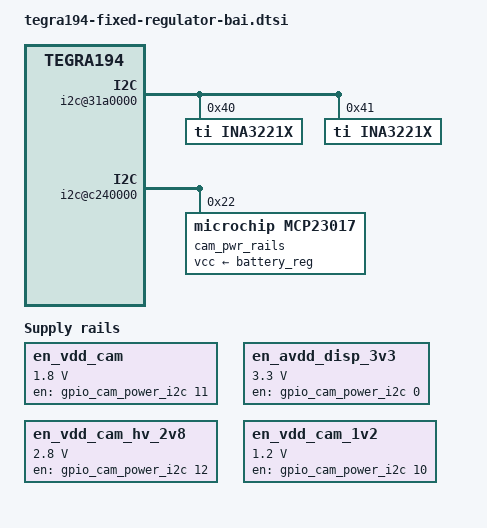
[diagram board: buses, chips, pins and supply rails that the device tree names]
/ {
	i2c@31a0000 {
		ina3221x@40 { // NAMES FOR THE NEW INA'S
			compatible = "ti,ina3221x";
			reg = <0x40>;
			ti,trigger-config = <0x7003>;
			ti,continuous-config = <0x7c07>;
			ti,enable-forced-continuous;
			#address-cells = <1>;
			#size-cells = <0>;
			channel@0 {
				reg = <0x0>;
				ti,rail-name = "VDD_12V_SENSE";
				ti,shunt-resistor-mohm = <47>;
			};
			channel@1 {
				reg = <0x1>;
				ti,rail-name = "VDD_3V3_SENSE";
				ti,shunt-resistor-mohm = <150>;
			};
			channel@2 {
				reg = <0x2>;
				ti,rail-name = "VDD_5V_SENSE";
				ti,shunt-resistor-mohm = <47>;
			};
		};

		ina3221x@41 {
			compatible = "ti,ina3221x";
			reg = <0x41>;
			ti,trigger-config = <0x7003>;
			ti,continuous-config = <0x7c07>;
			ti,enable-forced-continuous;
			#address-cells = <1>;
			#size-cells = <0>;
			channel@0 {
				reg = <0x0>;
				ti,rail-name = "VDD_1V2_SENSE";
				ti,shunt-resistor-mohm = <47>;
			};
			channel@1 {
				reg = <0x1>;
				ti,rail-name = "VDD_4V_SENSE";
				ti,shunt-resistor-mohm = <150>;
			};
			channel@2 {
				reg = <0x2>;
				ti,rail-name = "VDD_1V8_SENSE";
				ti,shunt-resistor-mohm = <47>;
			};
		};
	};
	
	/* Added I2C controller which will control the power */

	i2c@c240000 {
		gpio_cam_power_i2c: gpio@22 {
			compatible = "microchip,mcp23017";
			reg = <0x22>;
			gpio-controller;
			#gpio-cells = <0x2>;
			vcc-supply = <&battery_reg>;
			status = "okay";
			output-high;
			label = "cam_pwr_rails";
			
			pinctrl-names = "default";
			pinctrl-0 = <&gpio22pullups>;

			gpio22pullups: pinmux {
				pins = "gpio0", "gpio1", "gpio2", "gpio3", "gpio4", "gpio5",  "gpio6",  "gpio7",
				       "gpio8", "gpio9", "gpio10", "gpio11", "gpio12", "gpio13",  "gpio14",  "gpio15";
				bias-pull-up; 
			};
		};
	};

    fixed-regulators {
		/* Added I2C Regulators here */
		en_vdd_cam: regulator@2 {
			compatible = "regulator-fixed";
			reg = <2>;
			regulator-name = "en-vdd-cam";
			regulator-min-microvolt = <1800000>;
			regulator-max-microvolt = <1800000>;
			gpio = <&gpio_cam_power_i2c 11 1>;
			enable-active-high;
			regulator-always-on;
			regulator-boot-on;
		};

		en_avdd_disp_3v3: regulator@3 {
			compatible = "regulator-fixed";
			reg = <3>;
			regulator-name = "en-vdd-disp-3v3";
			regulator-min-microvolt = <3300000>;
			regulator-max-microvolt = <3300000>;
			gpio = <&gpio_cam_power_i2c 0 1>;
			enable-active-high;
			regulator-always-on;
			regulator-boot-on;
		};

		en_vdd_cam_hv_2v8: regulator@4 {
			compatible = "regulator-fixed";
			reg = <4>;
			regulator-name = "en-vdd-cam-hv-2v8";
			regulator-min-microvolt = <2800000>;
			regulator-max-microvolt = <2800000>;
			gpio = <&gpio_cam_power_i2c 12 1>;
			enable-active-high;
			regulator-always-on;
			regulator-boot-on;
		};

		en_vdd_cam_1v2: regulator@5 {
			compatible = "regulator-fixed";
			reg = <5>;
			regulator-name = "en-vdd-cam-1v2";
			regulator-min-microvolt = <1200000>;
			regulator-max-microvolt = <1200000>;
			gpio = <&gpio_cam_power_i2c 10 1>;
			enable-active-high;
			regulator-always-on;
			regulator-boot-on;
		};
    };
};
